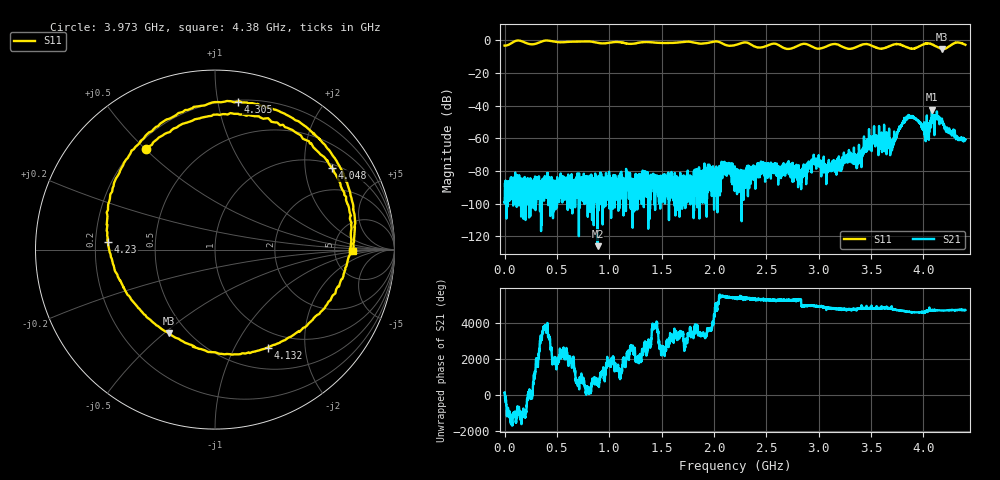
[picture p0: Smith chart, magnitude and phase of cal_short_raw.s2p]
!Created with skrf (http://scikit-rf.org).
# Hz S RI R 50.0
!freq ReS11 ImS11 ReS21 ImS21 ReS12 ImS12 ReS22 ImS22
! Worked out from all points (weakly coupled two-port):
!   4400 points, 1 MHz to 4.4 GHz, reference 50 ohm
!   highest |S21| = -42.53 dB at 4.08 GHz (marker M1); lowest = -125.9 dB at 888 MHz (marker M2)
!   lowest |S11| = -5.5 dB at 4.179 GHz (marker M3), VSWR 3.27, Z = 20 - j26 ohm
!   |S11| at or under -10 dB: nowhere
!   S12 and S22 are empty: the file has one direction only
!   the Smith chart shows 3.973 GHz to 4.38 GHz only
!   S11 on the Smith chart (normalised r, x): 3.973 GHz: 0.24, +0.50; 4.048 GHz: 1.12, +2.79; 4.132 GHz: 0.77, -1.37; 4.23 GHz: 0.25, +0.03; 4.305 GHz: 0.21, +1.14; 4.38 GHz: 7.58, -0.31
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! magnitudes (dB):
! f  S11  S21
! 1 MHz  -3.3  -99.1
! 735 MHz  -0.8  -93.0
! 888 MHz  -1.6  -125.9
! 1.468 GHz  -1.6  -91.8
! 2.201 GHz  -3.0  -79.3
! 2.842 GHz  -2.4  -79.6
! 2.934 GHz  -3.9  -74.0
! 3.119 GHz  -2.7  -75.4
! 3.374 GHz  -3.8  -69.8
! 3.509 GHz  -3.5  -60.9
! 3.667 GHz  -3.9  -61.4
! 3.704 GHz  -2.9  -63.6
! 3.846 GHz  -4.4  -46.8
! 3.973 GHz  -3.4  -51.3
! 4.048 GHz  -2.0  -54.1
! 4.08 GHz  -2.5  -42.5
! 4.132 GHz  -4.2  -48.5
! 4.179 GHz  -5.5  -49.2
! 4.23 GHz  -4.5  -55.7
! 4.305 GHz  -1.6  -59.0
! 4.38 GHz  -2.3  -60.2
! 4.4 GHz  -2.8  -60.6
